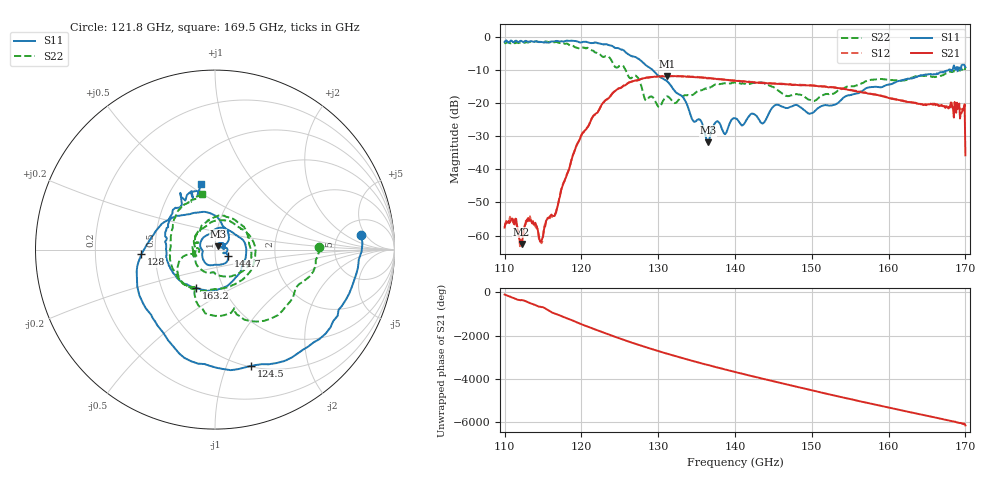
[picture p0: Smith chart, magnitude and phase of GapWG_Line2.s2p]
!Keysight Technologies,N5245B,MY49151002,A.19.00.09
!Date: Tuesday, March 11, 2025 11:57:48
!Correction: S11(C  2-Port  )
!S21(C  2-Port  )
!S12(C  2-Port  )
!S22(C  2-Port  )
!S2P File: Measurements: S11, S21, S12, S22:
# Hz S  dB  R 50
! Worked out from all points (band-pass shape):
!   601 points, 110 GHz to 170 GHz, reference 50 ohm
!   highest |S21| = -11.83 dB at 131.2 GHz (marker M1); lowest = -62.6 dB at 112.2 GHz (marker M2)
!   |S21| within 3 dB of the highest: 125.4 GHz to 150.6 GHz (25.15 GHz wide, 18.2 % of centre)
!   lowest |S11| = -31.8 dB at 136.5 GHz (marker M3), VSWR 1.05, Z = 51.7 + j1.99 ohm
!   |S11| at or under -10 dB: 129.3 GHz to 167.8 GHz (38.55 GHz wide, 26 % of centre); 168.1143 GHz to 168.3178 GHz (203.5 MHz wide, 0.121 % of centre); 168.9747 GHz to 169.0278 GHz (53.14 MHz wide, 0.0314 % of centre)
!   |S22| runs from -21.2 to -1.3 dB; largest |S21 - S12| = 0.078
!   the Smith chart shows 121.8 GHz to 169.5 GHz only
!   S11 on the Smith chart (normalised r, x): 121.8 GHz: 7.96, +4.00; 124.5 GHz: 0.51, -1.22; 128 GHz: 0.42, -0.03; 144.7 GHz: 1.15, -0.08; 163.2 GHz: 0.74, -0.34; 169.5 GHz: 0.67, +0.56
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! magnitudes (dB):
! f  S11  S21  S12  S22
! 110 GHz  -1.5  -57.6  -57.4  -1.8
! 111.2 GHz  -1.6  -56.5  -55.2  -1.8
! 112.2 GHz  -1.2  -62.6  -62.0  -1.7
! 113.1 GHz  -1.5  -54.8  -54.7  -1.7
! 114.8 GHz  -1.5  -61.7  -62.3  -1.5
! 120 GHz  -1.7  -29.7  -29.6  -3.4
! 121.8 GHz  -1.7  -23.4  -23.3  -4.7
! 124.5 GHz  -3.4  -16.1  -16.0  -9.2
! 128 GHz  -7.7  -12.6  -12.5  -16.6
! 130 GHz  -11.7  -12.0  -11.9  -21.1
! 131.2 GHz  -13.5  -11.8  -11.8  -18.0
! 136.5 GHz  -31.8  -12.5  -12.4  -15.5
! 137.5 GHz  -25.8  -12.7  -12.6  -14.3
! 138.7 GHz  -29.4  -12.9  -12.9  -14.0
! 140 GHz  -24.6  -13.2  -13.2  -13.8
! 143.6 GHz  -26.2  -14.0  -13.9  -13.9
! 144.7 GHz  -21.9  -14.1  -14.0  -14.9
! 150 GHz  -23.0  -14.7  -14.6  -19.2
! 160 GHz  -14.4  -18.4  -18.3  -12.9
! 163.2 GHz  -12.4  -19.9  -19.8  -12.2
! 169.5 GHz  -8.6  -23.0  -21.9  -9.9
! 170 GHz  -9.2  -35.8  -22.3  -9.2
